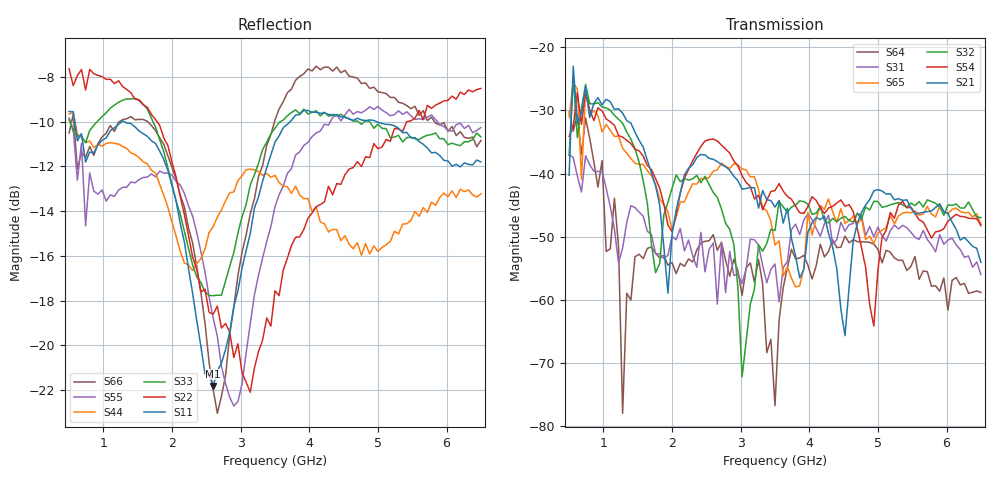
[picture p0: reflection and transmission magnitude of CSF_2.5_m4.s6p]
!Keysight Technologies,M9804A,MY58100912,A.14.10.03
!Date: Thursday, April 27, 2023 10:28:33
!Correction: S11(C  6-Port  )
!S12(C  6-Port  )
!S13(C  6-Port  )
!S14(C  6-Port  )
!S15(C  6-Port  )
!S16(C  6-Port  )
!S21(C  6-Port  )
!S22(C  6-Port  )
!S23(C  6-Port  )
!S24(C  6-Port  )
!S25(C  6-Port  )
!S26(C  6-Port  )
!S31(C  6-Port  )
!S32(C  6-Port  )
!S33(C  6-Port  )
!S34(C  6-Port  )
!S35(C  6-Port  )
!S36(C  6-Port  )
!S41(C  6-Port  )
!S42(C  6-Port  )
!S43(C  6-Port  )
!S44(C  6-Port  )
!S45(C  6-Port  )
!S46(C  6-Port  )
!S51(C  6-Port  )
!S52(C  6-Port  )
!S53(C  6-Port  )
!S54(C  6-Port  )
!S55(C  6-Port  )
!S56(C  6-Port  )
!S61(C  6-Port  )
!S62(C  6-Port  )
!S63(C  6-Port  )
!S64(C  6-Port  )
!S65(C  6-Port  )
!S66(C  6-Port  )
!S6P File: Measurement: :
# Hz S  RI  R 50
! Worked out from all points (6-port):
!   101 points, 500 MHz to 6.5 GHz, reference 50 ohm
!   strongest paths, dB at 500 MHz, 2 GHz, 3.5 GHz, 5 GHz, 6.5 GHz:
!     S21: -40.3, -49.6, -45.3, -42.6, -54.1
!     S54: -34.1, -49.2, -42.7, -55.2, -48.2
!     S32: -37.1, -42.3, -49.0, -44.4, -47.0
!     S65: -31.0, -48.8, -51.3, -49.4, -48.0
!     S31: -36.9, -49.9, -54.3, -48.5, -56.0
!     S64: -30.3, -54.1, -76.7, -52.0, -58.8
!   lowest |S11| = -21.8 dB at 2.6 GHz (marker M1), VSWR 1.18, Z = 42.7 + j1.95 ohm
!   |S11| at or under -10 dB: 580.4 MHz to 1.267 GHz (686.7 MHz wide, 74.3 % of centre); 1.302 GHz to 3.721 GHz (2.42 GHz wide, 96.3 % of centre); 4.977 GHz to end of sweep
